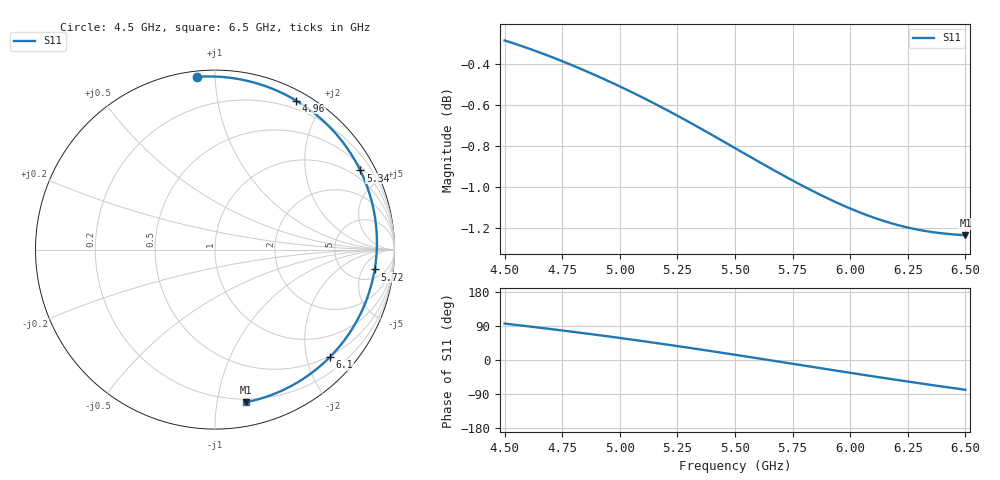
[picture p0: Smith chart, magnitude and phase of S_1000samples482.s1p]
! TOUCHSTONE file generated by CST MICROWAVE STUDIO
! Date and time: Fri Oct 28 07:39:33 2022
! Project name: L.cst
! Parameters = {Di=1.27; Epsilon_r=1.56; InnerDiameter=1.27; Length=2; Lf=10; Lg=60; OuterConductorThickness=0.2921; OuterDiameter=3.6; Wf=3; Wp=41.2; de=1.5; df=6.8; g=0.8; gx=3.68225; gy=3.77545; h=2.34; hf=1.524; px=8.44159; py=8.60431; w=9.7; wx=4.75934; wy=4.82886}
! Header version: 2018
! Port assignment regex: !\s*Touchstone port\s*([0-9]+)\s*=\s*(CST MWS port|CST DS port)\s*([0-9]+|Zmin|Zmax)\s*\(\"(.*)\"\)(\s*mode\s*([0-9]+))?.*
! Touchstone port assignment:
! Touchstone port 1 = CST MWS port 1 ("")
# GHz S DB R 50
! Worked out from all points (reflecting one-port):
!   101 points, 4.5 GHz to 6.5 GHz, reference 50 ohm
!   lowest |S11| = -1.2 dB at 6.5 GHz (marker M1), VSWR 14.11, Z = 8.78 - j60.4 ohm
!   phase of S11 starts at 96 deg and turns -175 deg over the sweep
!   S11 on the Smith chart (normalised r, x): 4.5 GHz: 0.03, +0.90; 4.96 GHz: 0.11, +1.68; 5.34 GHz: 0.65, +3.82; 5.72 GHz: 8, -9; 6.1 GHz: 0.47, -2.45; 6.5 GHz: 0.18, -1.21
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4.5  -0.29 96.1
4.58  -0.32 90.5
4.64  -0.34 86.1
4.76  -0.39 77.2
4.86  -0.44 69.4
4.96  -0.49 61.4
5  -0.51 58.1
5.12  -0.58 48.0
5.18  -0.61 42.8
5.26  -0.66 35.8
5.34  -0.71 28.6
5.42  -0.76 21.2
5.5  -0.81 13.8
5.56  -0.85 8.1
5.62  -0.89 2.4
5.72  -0.95 -7.1
5.76  -0.97 -10.9
5.82  -1.01 -16.7
5.88  -1.04 -22.4
5.94  -1.07 -28.1
6  -1.10 -33.8
6.1  -1.15 -43.1
6.18  -1.18 -50.5
6.26  -1.20 -57.7
6.32  -1.21 -63.0
6.38  -1.22 -68.3
6.44  -1.23 -73.4
6.5  -1.23 -78.5
